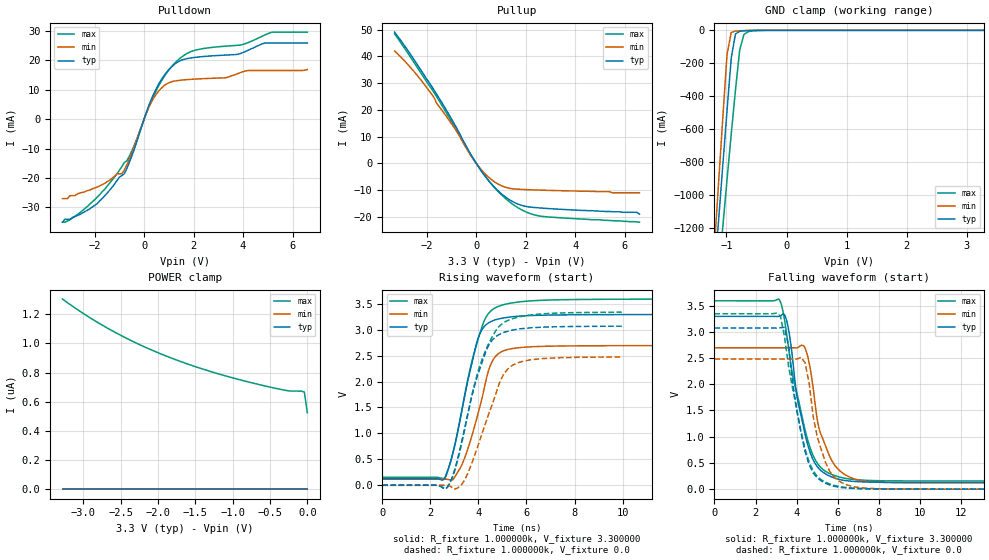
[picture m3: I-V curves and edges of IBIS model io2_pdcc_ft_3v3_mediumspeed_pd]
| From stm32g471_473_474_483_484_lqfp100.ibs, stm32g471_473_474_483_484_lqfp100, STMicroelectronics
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|   Model io2_pdcc_ft_3v3_mediumspeed_pd
[Model]  io2_pdcc_ft_3v3_mediumspeed_pd
Model_type I/O
Polarity   Non-Inverting
Enable   Active-Low
Vinl =   0.990000V
Vinh =   2.310000V
Vmeas =  1.650000V
Cref =   30.000000pF
Rref =   100.000000M
Vref =   0.0V
C_comp   4.843300pF   4.282700pF   5.299100pF
[Temperature Range]   25.000000   -40.000000   0.125000k
[Pullup Reference]   3.300000V   2.700000V   3.600000V
[Pulldown Reference]   0.0V   0.0V   0.0V
[POWER Clamp Reference]   3.300000V   2.700000V   3.600000V
[GND Clamp Reference]   0.0V   0.0V   0.0V
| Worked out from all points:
|   slope of the pulldown table from 0 to 0.495 V, typ, clamps not added: 47.5 ohm
|   slope of the pullup table from 0 to 0.495 V, typ, clamps not added: 77.3 ohm
|   GND clamp passes 1 mA (typ) near -0.58 V on its own axis
|   rising waveform, R_fixture 1.000000k, V_fixture 3.300000: 20-80 % time 873ps typ, 892ps min, 996ps max; typ from 0.128 V to 3.29 V
|   rising waveform, R_fixture 1.000000k, V_fixture 0.0: 20-80 % time 1.03ns typ, 1.1ns min, 1.13ns max; typ from 0 V to 3.07 V
|   falling waveform, R_fixture 1.000000k, V_fixture 3.300000: 20-80 % time 855ps typ, 887ps min, 1.08ns max; typ from 3.29 V to 0.128 V
|   falling waveform, R_fixture 1.000000k, V_fixture 0.0: 20-80 % time 804ps typ, 801ps min, 994ps max; typ from 3.07 V to 0 V
[Pulldown]
|Voltage   I(typ)   I(min)   I(max)
-3.3V     -35mA      -27mA      -35mA
-2V       -29.3mA    -23.4mA    -27.4mA
-800mV    -18.58mA   -17.27mA   -14.77mA
-400mV    -10.26mA   -9.232mA   -8.958mA
400mV     8.782mA    7.287mA    8.184mA
800mV     14.68mA    11.26mA    14.27mA
1.3V      19.02mA    12.98mA    19.48mA
2V        20.86mA    13.52mA    23.19mA
3.3V      21.71mA    14.02mA    24.73mA
4V        22.58mA    16.07mA    25.32mA
5.2V      25.81mA    16.46mA    29.5mA
6.6V      25.81mA    16.8mA     29.5mA
[Pullup]
|Voltage   I(typ)   I(min)   I(max)
-3.3V     49.04mA    41.97mA    48.38mA
-2.6V     39.94mA    35.22mA    38.88mA
-1.9V     30.13mA    27.05mA    29.04mA
-1.6V     25.81mA    22.43mA    24.9mA
-1.1V     18.19mA    16.17mA    17.2mA
100mV     -1.429mA   -1.206mA   -1.392mA
600mV     -7.545mA   -5.957mA   -7.567mA
1.2V      -12.7mA    -9.001mA   -13.28mA
1.8V      -15.6mA    -9.729mA   -17.2mA
2.5V      -16.63mA   -9.994mA   -19.58mA
6.5V      -18.3mA    -11mA      -21.9mA
6.6V      -19mA      -11mA      -22mA
[GND_clamp]
|Voltage   I(typ)   I(min)   I(max)
-3.3V     -9.767A    -9.748A    -9.881A
-1.2V     -1.489A    -1.316A    -1.768A
-1.13V    -1.15A     -919.7mA   -1.477A
-1.06V    -814.4mA   -527.2mA   -1.19A
-990mV    -484.1mA   -143.5mA   -905.3mA
-920mV    -166.2mA   -12.78mA   -627.6mA
-850mV    -21.89mA   -4.523mA   -362mA
-780mV    -6.002mA   -2.842mA   -119.7mA
-710mV    -3.249mA   -1.575mA   -25.45mA
-640mV    -1.849mA   -639.2uA   -8.025mA
-290mV    -9.102uA   -6.337uA   -111.2uA
3.28V     86.66uA    57.88uA    109.2uA
[POWER_clamp]
|Voltage   I(typ)   I(min)   I(max)
-3.28V    0A         0A         1.304uA
-2.96V    0A         0A         1.191uA
-2.6V     0A         0A         1.083uA
-2.24V    0A         0A         989.7nA
-1.84V    0A         0A         902.9nA
-1.4V     0A         0A         823.6nA
-880mV    0A         0A         747.1nA
-320mV    0A         0A         680.5nA
-240mV    0A         0A         673.6nA
-80mV     0A         0A         672.6nA
-40mV     0A         0A         665.5nA
0V        0A         0A         524.5nA
[Ramp]
| variable   typ   min   max
dV/dt_r  1.96290/1.13514n   1.60422/1.18422n   2.13977/1.24979n
dV/dt_f  1.96892/1.31534n   1.61029/1.32238n   2.14575/1.32280n
R_load = 10.000000k
[Rising Waveform]
R_fixture= 1.000000k
V_fixture= 3.300000
V_fixture_min= 2.700000
V_fixture_max= 3.600000
|time   V(typ)   V(min)   V(max)
0s        127.7mV    118.2mV    154.6mV
2.613ns   153.8mV    118.4mV    148.9mV
2.943ns   633.7mV    111.8mV    633.6mV
3.273ns   1.353V     362mV      1.358V
3.604ns   2.109V     767mV      2.141V
3.964ns   2.804V     1.349V     2.781V
4.294ns   3.086V     1.983V     3.223V
4.655ns   3.182V     2.45V      3.41V
6.246ns   3.274V     2.672V     3.557V
14.95ns   3.293V     2.694V     3.59V
[Rising Waveform]
R_fixture= 1.000000k
V_fixture= 0.0
V_fixture_min= 0.0
V_fixture_max= 0.0
|time   V(typ)   V(min)   V(max)
0s        35.1nV     22.45nV    11.46uV
2.723ns   -21.6mV    -3.892mV   -29.08mV
3.063ns   385.8mV    -64.94mV   359.3mV
3.483ns   1.22V      156.6mV    1.201V
3.884ns   1.992V     633.9mV    2.026V
4.324ns   2.595V     1.236V     2.628V
4.965ns   2.929V     2.067V     3.107V
5.405ns   2.99V      2.311V     3.211V
6.166ns   3.035V     2.42V      3.282V
9.97ns    3.067V     2.474V     3.337V
[Falling Waveform]
R_fixture= 1.000000k
V_fixture= 3.300000
V_fixture_min= 2.700000
V_fixture_max= 3.600000
|time   V(typ)   V(min)   V(max)
0s        3.294V     2.696V     3.592V
3.123ns   3.293V     2.696V     3.622V
3.393ns   3.329V     2.696V     3.263V
3.784ns   2.542V     2.696V     2.212V
4.024ns   1.735V     2.696V     1.809V
4.414ns   1.035V     2.681V     1.116V
5.045ns   408.4mV    1.228V     470.3mV
5.405ns   289.7mV    821mV      337.5mV
7.087ns   140.4mV    168.4mV    175mV
14.95ns   128.2mV    118.6mV    155.2mV
[Falling Waveform]
R_fixture= 1.000000k
V_fixture= 0.0
V_fixture_min= 0.0
V_fixture_max= 0.0
|time   V(typ)   V(min)   V(max)
0s        3.072V     2.48V      3.344V
3.003ns   3.071V     2.48V      3.356V
3.203ns   3.078V     2.48V      3.308V
3.403ns   3.085V     2.48V      2.912V
4.204ns   1.083V     2.513V     1.108V
4.605ns   467mV      2.021V     513mV
5.005ns   212.6mV    984.7mV    240.7mV
5.405ns   111.8mV    505.9mV    130.9mV
6.607ns   16.62mV    62.22mV    24.76mV
99.7ns    7.419uV    6.796uV    22.3uV
